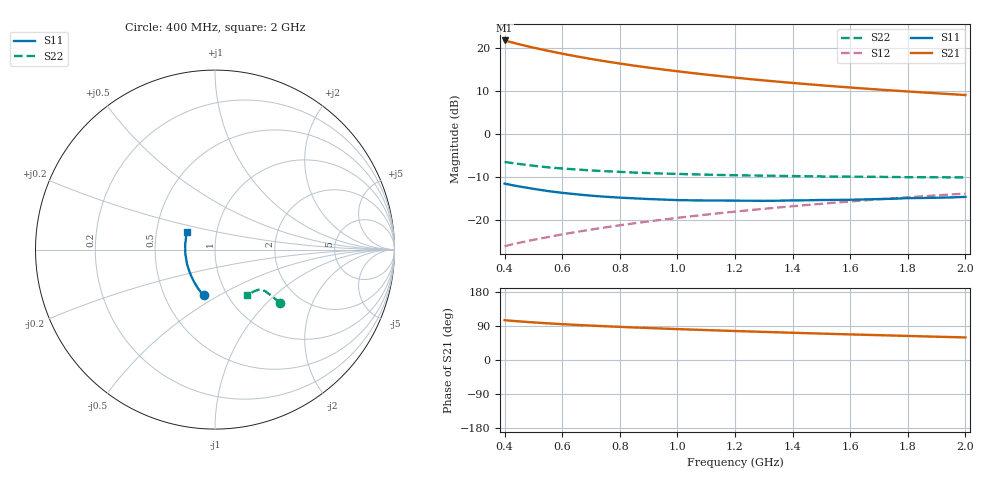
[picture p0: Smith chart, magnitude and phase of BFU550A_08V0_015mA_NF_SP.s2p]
! Filename:  P:\Prog\Test\Noise\ATS_data\Testdata_Net\06 Compressed Noise after Statistics\BFU550A_APG2013_35_C05_08p0V_015mA_NF_CM01_D.sf
! Date/Time: Tue 16/Apr/2013 15:11:28
! BFU550A_APG2013_35_C05_08p0V_1to35mA_NF_CM01_Bias6_R.sf
! Noise Parameter Data File
! BFU550A_APG2013_35_C05_08p0V_1to35mA_NF_CM01
! Date/time: Mon Apr 15 17:49:26 2013
! VAR V_out= 8.001000
! VAR I_out= 14.995000
! VAR V_in= 0.814300
! VAR I_in= 0.153800
! Device data file deembeded for feedlines and parallel
! Original file: \06 Compressed Noise after Statistics\BFU550A_APG2013_35_C05_08p0V_015mA_NF_CM01_R.sf
! Feed-files: PR017V01_150413_Feed1.s2p, PR017V01_150413_Feed2.s2p
! Parallel-file: PR017V01_150413_Par.s2p
# MHz S MA R 50
!  Freq-MHz  S11-mag  S11-arg  S21-mag  S21-arg  S12-mag  S12-arg  S22-mag  S22-arg
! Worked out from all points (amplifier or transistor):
!   37 points, 400 MHz to 2 GHz, reference 50 ohm
!   highest |S21| = 21.8 dB at 400 MHz (marker M1)
!   |S21| within 3 dB of that: start of sweep to 593.9 MHz
!   unconditionally stable (mu >= 1): 1.204 GHz to end of sweep
!   at 500 MHz: K = 0.88, MSG = 22.4 dB, |S12| = -24.7 dB
!   at 1.1 GHz: K = 0.99, MSG = 16.3 dB, |S12| = -18.8 dB
!   at 2 GHz: K = 1.00, MAG = 11.2 dB, |S12| = -13.9 dB
!   lowest NFmin = 0.90 dB at 420 MHz
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400  0.2623 -103.9  12.26 105.1  0.04898 68.6  0.4699 -39.1
420  0.2544 -106.6  11.77 103.7  0.0508 68.8  0.4591 -39.2
440  0.247 -109.3  11.31 102.5  0.05261 68.9  0.4495 -39.2
460  0.2403 -111.6  10.88 101.4  0.05442 69.1  0.4407 -39.3
500  0.2283 -116.6  10.11 99.3  0.05805 69.4  0.4249 -39.4
550  0.2152 -122.6  9.299 96.8  0.0625 69.7  0.4067 -39.3
600  0.2051 -127.7  8.599 94.6  0.06719 70.0  0.3943 -39.4
650  0.1971 -132.7  7.993 92.6  0.07182 70.3  0.3836 -39.5
700  0.19 -137.4  7.467 90.8  0.07644 70.5  0.3744 -39.5
750  0.1846 -142.0  7.004 89.0  0.0811 70.6  0.3664 -39.6
800  0.1803 -146.3  6.6 87.4  0.08578 70.7  0.3601 -39.9
850  0.1769 -150.7  6.238 85.8  0.09049 70.8  0.3533 -40.1
900  0.1737 -154.6  5.914 84.4  0.09521 70.8  0.3484 -40.4
950  0.1712 -158.4  5.625 83.0  0.09993 70.8  0.3443 -40.8
1050  0.1677 -165.5  5.12 80.2  0.1095 70.7  0.3372 -41.5
1100  0.1671 -169.0  4.903 79.0  0.1143 70.5  0.3343 -42.0
1200  0.1662 -175.3  4.52 76.5  0.1239 70.2  0.3291 -43.0
1350  0.166 176.3  4.053 73.0  0.1383 69.6  0.3237 -44.8
1500  0.1694 168.2  3.677 69.7  0.1528 68.8  0.3184 -46.9
1600  0.1703 163.6  3.466 67.6  0.1625 68.3  0.3168 -48.4
1750  0.1751 157.2  3.196 64.5  0.177 67.3  0.3136 -50.7
2000  0.184 148.0  2.834 59.6  0.2012 65.6  0.3105 -55.2
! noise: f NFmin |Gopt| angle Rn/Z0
400  0.9718  0.1267  -166.2  0.0952
460  0.9311  0.1516  -167  0.0871
600  0.987  0.1479  -159.8  0.0987
800  0.9956  0.1724  -165.8  0.0846
1000  1.024  0.182  -158.3  0.086
1200  1.043  0.2019  -153.3  0.0872
1400  1.069  0.216  -147.9  0.0938
1600  1.075  0.2337  -143.9  0.0933
1800  1.076  0.2601  -137.5  0.0931
2000  1.096  0.2752  -133.3  0.0984
